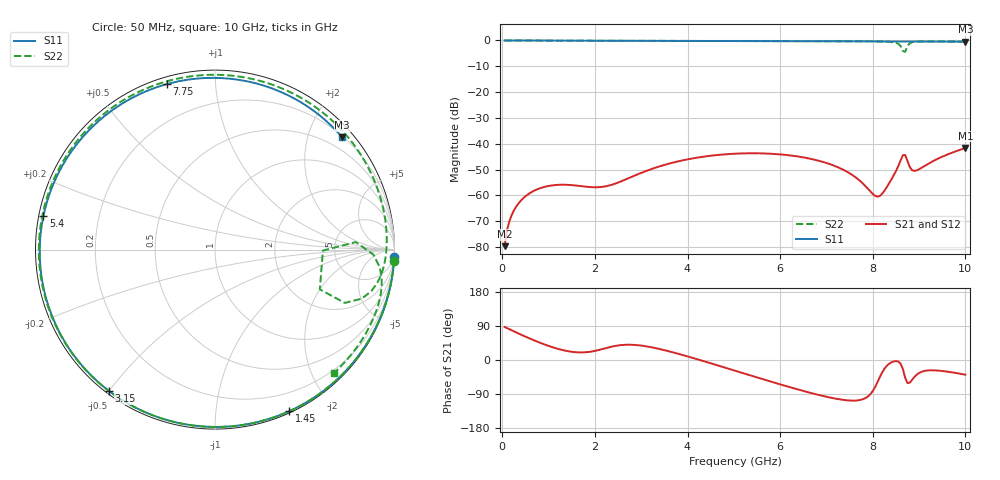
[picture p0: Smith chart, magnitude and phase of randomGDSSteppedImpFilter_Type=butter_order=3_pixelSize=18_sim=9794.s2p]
! freq	dB(S11)	phase(S11)	dB(S12)	phase(S12)
!  dB(S21)	phase(S21)	dB(S22)	phase(S22)
!S-par simulation data
#  GHz  S  DB  R 50
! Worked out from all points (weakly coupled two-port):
!   200 points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, 50 MHz to 10 GHz, reference 50 ohm
!   highest |S21| = -41.67 dB at 10 GHz (marker M1); lowest = -79.7 dB at 50 MHz (marker M2)
!   lowest |S11| = -0.5 dB at 10 GHz (marker M3), VSWR 35.42, Z = 11.2 + j131 ohm
!   |S11| at or under -10 dB: nowhere
!   |S22| runs from -4.4 to 0.0 dB; largest |S21 - S12| = 0
!   S11 on the Smith chart (normalised r, x): 50 MHz: 0, -48; 1.45 GHz: 0.02, -1.56; 3.15 GHz: 0.01, -0.50; 5.4 GHz: 0.01, +0.10; 7.75 GHz: 0.03, +0.75; 10 GHz: 0.22, +2.62
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0.05  -0.00 -2.4  -79.67 87.1  -79.67 87.1  -0.00 -3.5
0.1  -0.01 -4.7  -73.67 84.2  -73.67 84.2  -0.01 -7.0
0.2  -0.01 -9.5  -67.73 78.4  -67.73 78.4  -0.02 -13.9
0.45  -0.03 -21.1  -61.14 64.4  -61.14 64.4  -0.04 -30.9
0.95  -0.05 -43.8  -56.53 39.3  -56.53 39.3  -0.08 -63.5
1.45  -0.08 -65.3  -55.96 22.6  -55.96 22.6  -0.10 -93.2
1.75  -0.09 -77.4  -56.51 20.0  -56.51 20.0  -0.12 -109.5
2.45  -0.12 -103.6  -55.37 37.4  -55.37 37.4  -0.14 -143.9
3.15  -0.14 -127.0  -50.26 35.2  -50.26 35.2  -0.16 -174.4
3.4  -0.14 -134.8  -48.74 28.9  -48.74 28.9  -0.16 175.3
4.15  -0.17 -156.9  -45.55 4.2  -45.55 4.2  -0.19 145.8
5.05  -0.21 178.4  -43.83 -29.1  -43.83 -29.1  -0.21 111.9
5.4  -0.23 169.0  -43.69 -42.2  -43.69 -42.2  -0.22 98.9
6.7  -0.29 134.6  -46.01 -88.2  -46.01 -88.2  -0.25 51.8
7.75  -0.35 106.1  -54.79 -104.8  -54.79 -104.8  -0.31 15.4
8.1  -0.37 96.4  -60.48 -58.9  -60.48 -58.9  -0.37 3.1
8.35  -0.38 89.3  -55.41 -10.2  -55.41 -10.2  -0.52 -6.8
8.55  -0.40 83.6  -48.67 -4.0  -48.67 -4.0  -1.28 -18.4
8.65  -0.40 80.7  -44.45 -23.9  -44.45 -23.9  -4.09 -20.8
8.75  -0.41 77.9  -46.74 -60.9  -46.74 -60.9  -2.10 3.1
8.9  -0.42 73.5  -50.52 -44.7  -50.52 -44.7  -0.52 -9.6
10  -0.49 41.5  -41.67 -38.8  -41.67 -38.8  -0.40 -45.9
